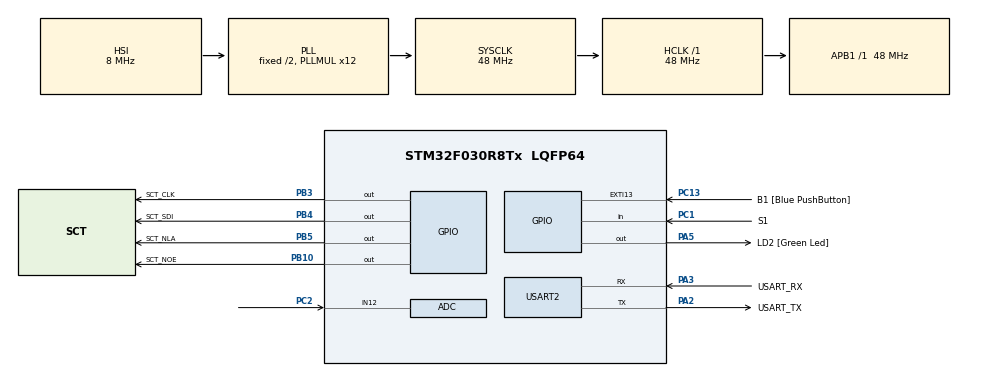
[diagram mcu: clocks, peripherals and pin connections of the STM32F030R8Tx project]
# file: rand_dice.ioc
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Mcu.Family=STM32F0
Mcu.Name=STM32F030R8Tx
Mcu.Package=LQFP64
PA13.GPIO_Label=TMS
PA13.Mode=Serial_Wire
PA13.Signal=SYS_SWDIO
PA14.GPIO_Label=TCK
PA14.Mode=Serial_Wire
PA14.Signal=SYS_SWCLK
PA2.GPIO_Label=USART_TX
PA2.GPIO_Mode=GPIO_MODE_AF_PP
PA2.GPIO_PuPd=GPIO_NOPULL
PA2.GPIO_Speed=GPIO_SPEED_FREQ_LOW
PA2.Mode=Asynchronous
PA2.Signal=USART2_TX
PA3.GPIO_Label=USART_RX
PA3.GPIO_Mode=GPIO_MODE_AF_PP
PA3.GPIO_PuPd=GPIO_NOPULL
PA3.GPIO_Speed=GPIO_SPEED_FREQ_LOW
PA3.Mode=Asynchronous
PA3.Signal=USART2_RX
PA5.GPIO_Label=LD2 [Green Led]
PA5.GPIO_Mode=GPIO_MODE_OUTPUT_PP
PA5.GPIO_PuPd=GPIO_NOPULL
PA5.GPIO_Speed=GPIO_SPEED_FREQ_LOW
PA5.Signal=GPIO_Output
PB10.GPIO_Label=SCT_NOE
PB10.Signal=GPIO_Output
PB3.GPIO_Label=SCT_CLK
PB3.Signal=GPIO_Output
PB4.GPIO_Label=SCT_SDI
PB4.Signal=GPIO_Output
PB5.GPIO_Label=SCT_NLA
PB5.Signal=GPIO_Output
PC1.GPIO_Label=S1
PC1.GPIO_PuPd=GPIO_PULLUP
PC1.Signal=GPIO_Input
PC13.GPIO_Label=B1 [Blue PushButton]
PC13.GPIO_ModeDefaultEXTI=GPIO_MODE_IT_FALLING
PC13.Signal=GPXTI13
PC14-OSC32_IN.Mode=LSE-External-Oscillator
PC14-OSC32_IN.Signal=RCC_OSC32_IN
PC15-OSC32_OUT.Mode=LSE-External-Oscillator
PC15-OSC32_OUT.Signal=RCC_OSC32_OUT
PC2.Mode=IN12
PC2.Signal=ADC_IN12
PF0-OSC_IN.Mode=HSE-External-Clock-Source
PF0-OSC_IN.Signal=RCC_OSC_IN
PF1-OSC_OUT.Signal=RCC_OSC_OUT
ProjectManager.HeapSize=0x200
ProjectManager.StackSize=0x400
ProjectManager.TargetToolchain=STM32CubeIDE
RCC.AHBFreq_Value=48000000
RCC.APB1Freq_Value=48000000
RCC.APB1TimFreq_Value=48000000
RCC.HCLKFreq_Value=48000000
RCC.PLLMUL=RCC_PLL_MUL12
RCC.SYSCLKFreq_VALUE=48000000
RCC.SYSCLKSource=RCC_SYSCLKSOURCE_PLLCLK
USART2.VirtualMode-Asynchronous=VM_ASYNC
board=NUCLEO-F030R8

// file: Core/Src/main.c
/* USER CODE BEGIN Header */
/**
  ******************************************************************************
  * @file           : main.c
  * @brief          : Main program body
  ******************************************************************************
  * @attention
  *
  * Copyright (c) 2024 STMicroelectronics.
  * All rights reserved.
  *
  * This software is licensed under terms that can be found in the LICENSE file
  * in the root directory of this software component.
  * If no LICENSE file comes with this software, it is provided AS-IS.
  *
  ******************************************************************************
  */
/* USER CODE END Header */
#include "main.h"

/* USER CODE BEGIN Includes */
#include "sct.h"
#include <stdlib.h>
/* USER CODE END Includes */

/* USER CODE BEGIN PD */
#define LED_DELAY	60
/* USER CODE END PD */

ADC_HandleTypeDef hadc;

UART_HandleTypeDef huart2;

void SystemClock_Config(void);
static void MX_GPIO_Init(void);
static void MX_USART2_UART_Init(void);
static void MX_ADC_Init(void);

/* USER CODE BEGIN 0 */
int rand16(void)
{
	return (rand() % 6) + 1;

}

int RollTheDice(void)
{
	int die1 = rand16();
	int die2 = rand16();
	int die3 = rand16();

	return (100*die1 + 10*die2 + die3);
}
/* USER CODE END 0 */

int main(void)
{

  /* MCU Configuration--------------------------------------------------------*/

  /* Reset of all peripherals, Initializes the Flash interface and the Systick. */
  HAL_Init();

  /* Configure the system clock */
  SystemClock_Config();

  /* Initialize all configured peripherals */
  MX_GPIO_Init();
  MX_USART2_UART_Init();
  MX_ADC_Init();
  /* USER CODE BEGIN 2 */
  sct_init();
  sct_value(404, 4);
  HAL_Delay(2000);
  HAL_ADCEx_Calibration_Start(&hadc);

  uint16_t adc_value;
  HAL_ADC_Start(&hadc);
  adc_value = HAL_ADC_GetValue(&hadc);
  srand(adc_value);

  /* USER CODE END 2 */

  /* Infinite loop */
  while (1)
  {

	  /* USER CODE BEGIN 3 */
	  uint8_t buttonPressed = 0;
	  uint16_t rng_led;
	  uint16_t delayValue = 20;

	  while(buttonPressed == 0)
	  {
		  rng_led = RollTheDice();

		  HAL_Delay(delayValue);
		  sct_value(rng_led, 0);
		  if(HAL_GPIO_ReadPin(S1_GPIO_Port, S1_Pin) == 0)
		  {
			  buttonPressed = 1;
		  }
	  }

	  for(uint16_t i = 0; i < 20; i++)
	  {
		  rng_led = RollTheDice();
		  HAL_Delay(delayValue);
		  delayValue += 10;
		  sct_value(rng_led, 0);
	  }

	  sct_value(rng_led,8);
	  HAL_Delay(100);
	  sct_value(rng_led,0);
	  HAL_Delay(100);
	  sct_value(rng_led,8);
	  HAL_Delay(100);
	  sct_value(rng_led,0);
	  HAL_Delay(100);
	  sct_value(rng_led,8);
	  HAL_Delay(100);
	  sct_value(rng_led,0);
	  HAL_Delay(100);
	  sct_value(rng_led,8);
	  HAL_Delay(100);

	  HAL_Delay(3000);

  }
  /* USER CODE END 3 */
}

void SystemClock_Config(void)
{
  RCC_OscInitTypeDef RCC_OscInitStruct = {0};
  RCC_ClkInitTypeDef RCC_ClkInitStruct = {0};

  /** Initializes the RCC Oscillators according to the specified parameters
  * in the RCC_OscInitTypeDef structure.
  */
  RCC_OscInitStruct.OscillatorType = RCC_OSCILLATORTYPE_HSI|RCC_OSCILLATORTYPE_HSI14;
  RCC_OscInitStruct.HSIState = RCC_HSI_ON;
  RCC_OscInitStruct.HSI14State = RCC_HSI14_ON;
  RCC_OscInitStruct.HSICalibrationValue = RCC_HSICALIBRATION_DEFAULT;
  RCC_OscInitStruct.HSI14CalibrationValue = 16;
  RCC_OscInitStruct.PLL.PLLState = RCC_PLL_ON;
  RCC_OscInitStruct.PLL.PLLSource = RCC_PLLSOURCE_HSI;
  RCC_OscInitStruct.PLL.PLLMUL = RCC_PLL_MUL12;
  RCC_OscInitStruct.PLL.PREDIV = RCC_PREDIV_DIV1;
  if (HAL_RCC_OscConfig(&RCC_OscInitStruct) != HAL_OK)
  {
    Error_Handler();
  }

  /** Initializes the CPU, AHB and APB buses clocks
  */
  RCC_ClkInitStruct.ClockType = RCC_CLOCKTYPE_HCLK|RCC_CLOCKTYPE_SYSCLK
                              |RCC_CLOCKTYPE_PCLK1;
  RCC_ClkInitStruct.SYSCLKSource = RCC_SYSCLKSOURCE_PLLCLK;
  RCC_ClkInitStruct.AHBCLKDivider = RCC_SYSCLK_DIV1;
  RCC_ClkInitStruct.APB1CLKDivider = RCC_HCLK_DIV1;

  if (HAL_RCC_ClockConfig(&RCC_ClkInitStruct, FLASH_LATENCY_1) != HAL_OK)
  {
    Error_Handler();
  }
}

static void MX_ADC_Init(void)
{

  ADC_ChannelConfTypeDef sConfig = {0};

  /** Configure the global features of the ADC (Clock, Resolution, Data Alignment and number of conversion)
  */
  hadc.Instance = ADC1;
  hadc.Init.ClockPrescaler = ADC_CLOCK_ASYNC_DIV1;
  hadc.Init.Resolution = ADC_RESOLUTION_12B;
  hadc.Init.DataAlign = ADC_DATAALIGN_RIGHT;
  hadc.Init.ScanConvMode = ADC_SCAN_DIRECTION_FORWARD;
  hadc.Init.EOCSelection = ADC_EOC_SINGLE_CONV;
  hadc.Init.LowPowerAutoWait = DISABLE;
  hadc.Init.LowPowerAutoPowerOff = DISABLE;
  hadc.Init.ContinuousConvMode = DISABLE;
  hadc.Init.DiscontinuousConvMode = DISABLE;
  hadc.Init.ExternalTrigConv = ADC_SOFTWARE_START;
  hadc.Init.ExternalTrigConvEdge = ADC_EXTERNALTRIGCONVEDGE_NONE;
  hadc.Init.DMAContinuousRequests = DISABLE;
  hadc.Init.Overrun = ADC_OVR_DATA_PRESERVED;
  if (HAL_ADC_Init(&hadc) != HAL_OK)
  {
    Error_Handler();
  }

  /** Configure for the selected ADC regular channel to be converted.
  */
  sConfig.Channel = ADC_CHANNEL_12;
  sConfig.Rank = ADC_RANK_CHANNEL_NUMBER;
  sConfig.SamplingTime = ADC_SAMPLETIME_1CYCLE_5;
  if (HAL_ADC_ConfigChannel(&hadc, &sConfig) != HAL_OK)
  {
    Error_Handler();
  }

}

static void MX_USART2_UART_Init(void)
{

  huart2.Instance = USART2;
  huart2.Init.BaudRate = 38400;
  huart2.Init.WordLength = UART_WORDLENGTH_8B;
  huart2.Init.StopBits = UART_STOPBITS_1;
  huart2.Init.Parity = UART_PARITY_NONE;
  huart2.Init.Mode = UART_MODE_TX_RX;
  huart2.Init.HwFlowCtl = UART_HWCONTROL_NONE;
  huart2.Init.OverSampling = UART_OVERSAMPLING_16;
  huart2.Init.OneBitSampling = UART_ONE_BIT_SAMPLE_DISABLE;
  huart2.AdvancedInit.AdvFeatureInit = UART_ADVFEATURE_NO_INIT;
  if (HAL_UART_Init(&huart2) != HAL_OK)
  {
    Error_Handler();
  }

}

static void MX_GPIO_Init(void)
{
  GPIO_InitTypeDef GPIO_InitStruct = {0};

  /* GPIO Ports Clock Enable */
  __HAL_RCC_GPIOC_CLK_ENABLE();
  __HAL_RCC_GPIOF_CLK_ENABLE();
  __HAL_RCC_GPIOA_CLK_ENABLE();
  __HAL_RCC_GPIOB_CLK_ENABLE();

  /*Configure GPIO pin Output Level */
  HAL_GPIO_WritePin(LD2_GPIO_Port, LD2_Pin, GPIO_PIN_RESET);

  /*Configure GPIO pin Output Level */
  HAL_GPIO_WritePin(GPIOB, SCT_NOE_Pin|SCT_CLK_Pin|SCT_SDI_Pin|SCT_NLA_Pin, GPIO_PIN_RESET);

  /*Configure GPIO pin : B1_Pin */
  GPIO_InitStruct.Pin = B1_Pin;
  GPIO_InitStruct.Mode = GPIO_MODE_IT_FALLING;
  GPIO_InitStruct.Pull = GPIO_NOPULL;
  HAL_GPIO_Init(B1_GPIO_Port, &GPIO_InitStruct);

  /*Configure GPIO pin : S1_Pin */
  GPIO_InitStruct.Pin = S1_Pin;
  GPIO_InitStruct.Mode = GPIO_MODE_INPUT;
  GPIO_InitStruct.Pull = GPIO_PULLUP;
  HAL_GPIO_Init(S1_GPIO_Port, &GPIO_InitStruct);

  /*Configure GPIO pin : LD2_Pin */
  GPIO_InitStruct.Pin = LD2_Pin;
  GPIO_InitStruct.Mode = GPIO_MODE_OUTPUT_PP;
  GPIO_InitStruct.Pull = GPIO_NOPULL;
  GPIO_InitStruct.Speed = GPIO_SPEED_FREQ_LOW;
  HAL_GPIO_Init(LD2_GPIO_Port, &GPIO_InitStruct);

  /*Configure GPIO pins : SCT_NOE_Pin SCT_CLK_Pin SCT_SDI_Pin SCT_NLA_Pin */
  GPIO_InitStruct.Pin = SCT_NOE_Pin|SCT_CLK_Pin|SCT_SDI_Pin|SCT_NLA_Pin;
  GPIO_InitStruct.Mode = GPIO_MODE_OUTPUT_PP;
  GPIO_InitStruct.Pull = GPIO_NOPULL;
  GPIO_InitStruct.Speed = GPIO_SPEED_FREQ_LOW;
  HAL_GPIO_Init(GPIOB, &GPIO_InitStruct);

}

void Error_Handler(void)
{
  __disable_irq();
  while (1)
  {
  }
}
